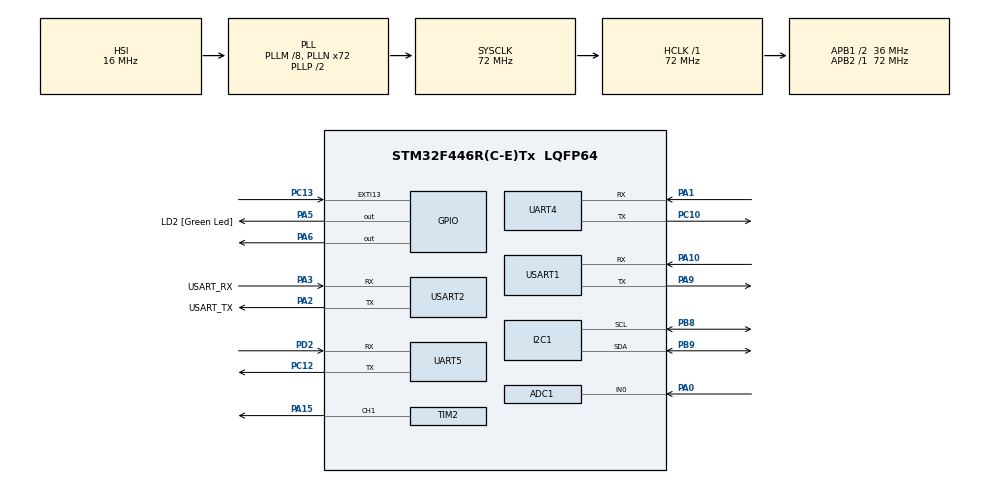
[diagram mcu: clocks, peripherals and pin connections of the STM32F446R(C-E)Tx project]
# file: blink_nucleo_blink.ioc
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ADC1.Channel-0\#ChannelRegularConversion=ADC_CHANNEL_0
ADC1.ContinuousConvMode=ENABLE
ADC1.NbrOfConversionFlag=1
ADC1.Rank-0\#ChannelRegularConversion=1
ADC1.SamplingTime-0\#ChannelRegularConversion=ADC_SAMPLETIME_3CYCLES
ADC1.master=1
Dma.Request0=USART2_RX
Dma.Request1=USART1_RX
Dma.USART1_RX.1.Direction=DMA_PERIPH_TO_MEMORY
Dma.USART1_RX.1.FIFOMode=DMA_FIFOMODE_DISABLE
Dma.USART1_RX.1.Instance=DMA2_Stream2
Dma.USART1_RX.1.MemDataAlignment=DMA_MDATAALIGN_BYTE
Dma.USART1_RX.1.MemInc=DMA_MINC_ENABLE
Dma.USART1_RX.1.Mode=DMA_CIRCULAR
Dma.USART1_RX.1.PeriphDataAlignment=DMA_PDATAALIGN_BYTE
Dma.USART1_RX.1.PeriphInc=DMA_PINC_DISABLE
Dma.USART1_RX.1.Priority=DMA_PRIORITY_LOW
Dma.USART2_RX.0.Direction=DMA_PERIPH_TO_MEMORY
Dma.USART2_RX.0.FIFOMode=DMA_FIFOMODE_DISABLE
Dma.USART2_RX.0.Instance=DMA1_Stream5
Dma.USART2_RX.0.MemDataAlignment=DMA_MDATAALIGN_BYTE
Dma.USART2_RX.0.MemInc=DMA_MINC_ENABLE
Dma.USART2_RX.0.Mode=DMA_CIRCULAR
Dma.USART2_RX.0.PeriphDataAlignment=DMA_PDATAALIGN_BYTE
Dma.USART2_RX.0.PeriphInc=DMA_PINC_DISABLE
Dma.USART2_RX.0.Priority=DMA_PRIORITY_LOW
FREERTOS.Mutexes01=myMutex01,Dynamic,NULL,Available
FREERTOS.Tasks01=defaultTask,0,128,StartDefaultTask,Default,NULL,Dynamic,NULL,NULL;SensorOkumasi,3,512,readSensor,Default,NULL,Dynamic,NULL,NULL;SeriPortYazdir,2,512,serialWrite,Default,NULL,Dynamic,NULL,NULL
I2C1.I2C_Mode=I2C_Fast
Mcu.Family=STM32F4
Mcu.Name=STM32F446R(C-E)Tx
Mcu.Package=LQFP64
NVIC.DMA1_Stream5_IRQn=true\:5\:0\:false\:false\:true\:true\:false\:true\:true
NVIC.DMA2_Stream2_IRQn=true\:5\:0\:false\:false\:true\:true\:false\:true\:true
NVIC.PriorityGroup=NVIC_PRIORITYGROUP_4
NVIC.TIM6_DAC_IRQn=true\:15\:0\:false\:false\:true\:false\:false\:true\:true
NVIC.TimeBase=TIM6_DAC_IRQn
NVIC.TimeBaseIP=TIM6
NVIC.USART2_IRQn=true\:5\:0\:false\:false\:true\:true\:true\:true\:true
PA0-WKUP.Signal=ADCx_IN0
PA1.Mode=Asynchronous
PA1.Signal=UART4_RX
PA10.Mode=Asynchronous
PA10.Signal=USART1_RX
PA13.GPIO_Label=TMS
PA13.Mode=Serial_Wire
PA13.Signal=SYS_JTMS-SWDIO
PA14.GPIO_Label=TCK
PA14.Mode=Serial_Wire
PA14.Signal=SYS_JTCK-SWCLK
PA15.Signal=S_TIM2_CH1_ETR
PA2.GPIO_Label=USART_TX
PA2.Mode=Asynchronous
PA2.Signal=USART2_TX
PA3.GPIO_Label=USART_RX
PA3.Mode=Asynchronous
PA3.Signal=USART2_RX
PA5.GPIO_Label=LD2 [Green Led]
PA5.Signal=GPIO_Output
PA6.Signal=GPIO_Output
PA9.Mode=Asynchronous
PA9.Signal=USART1_TX
PB3.GPIO_Label=SWO
PB3.Signal=SYS_JTDO-SWO
PB8.Mode=I2C
PB8.Signal=I2C1_SCL
PB9.Mode=I2C
PB9.Signal=I2C1_SDA
PC10.Mode=Asynchronous
PC10.Signal=UART4_TX
PC12.Mode=Asynchronous
PC12.Signal=UART5_TX
PC13.Signal=GPXTI13
PC14-OSC32_IN.Mode=LSE-External-Oscillator
PC14-OSC32_IN.Signal=RCC_OSC32_IN
PC15-OSC32_OUT.Mode=LSE-External-Oscillator
PC15-OSC32_OUT.Signal=RCC_OSC32_OUT
PD2.Mode=Asynchronous
PD2.Signal=UART5_RX
PH0-OSC_IN.Mode=HSE-External-Oscillator
PH0-OSC_IN.Signal=RCC_OSC_IN
PH1-OSC_OUT.Mode=HSE-External-Oscillator
PH1-OSC_OUT.Signal=RCC_OSC_OUT
ProjectManager.HeapSize=0x200
ProjectManager.StackSize=0x400
ProjectManager.TargetToolchain=STM32CubeIDE
RCC.48MHZClocksFreq_Value=84000000
RCC.AHBFreq_Value=72000000
RCC.APB1CLKDivider=RCC_HCLK_DIV2
RCC.APB1Freq_Value=36000000
RCC.APB1TimFreq_Value=72000000
RCC.APB2Freq_Value=72000000
RCC.APB2TimFreq_Value=72000000
RCC.CortexFreq_Value=72000000
RCC.FLatency-AdvancedSettings=FLASH_LATENCY_2
RCC.HCLKFreq_Value=72000000
RCC.HSE_VALUE=8000000
RCC.HSI_VALUE=16000000
RCC.PLLM=8
RCC.PLLN=72
RCC.SYSCLKFreq_VALUE=72000000
RCC.SYSCLKSource=RCC_SYSCLKSOURCE_PLLCLK
RCC.USBFreq_Value=72000000
RCC.VCOOutputFreq_Value=144000000
SH.ADCx_IN0.0=ADC1_IN0,IN0
SH.S_TIM2_CH1_ETR.0=TIM2_CH1,PWM Generation1 CH1
TIM2.Channel-PWM\ Generation1\ CH1=TIM_CHANNEL_1
UART4.VirtualMode=Asynchronous
UART5.VirtualMode=Asynchronous
USART1.VirtualMode=VM_ASYNC
USART2.VirtualMode=VM_ASYNC
VP_FREERTOS_VS_CMSIS_V1.Mode=CMSIS_V1
VP_SYS_VS_tim6.Mode=TIM6
VP_TIM2_VS_ClockSourceINT.Mode=Internal
board=NUCLEO-F446RE

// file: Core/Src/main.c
/* USER CODE BEGIN Header */
/**
  ******************************************************************************
  * @file           : main.c
  * @brief          : YRT Rocket Recovery Flight Software (Low-Pass Filter)
  ******************************************************************************
  * @attention
  *
  * Copyright (c) 2026 STMicroelectronics.
  * All rights reserved.
  *
  * This software is licensed under terms that can be found in the LICENSE file
  * in the root directory of this software component.
  * If no LICENSE file comes with this software, it is provided AS-IS.
  *
  ******************************************************************************
  */
/* USER CODE END Header */
#include "main.h"
#include "cmsis_os.h"
#include "adc.h"
#include "dma.h"
#include "i2c.h"
#include "tim.h"
#include "usart.h"
#include "gpio.h"

/* USER CODE BEGIN Includes */
#include <string.h>
#include <stdio.h>
#include <stdint.h>
#include <math.h>
#include "mpu6050.h"
/* USER CODE END Includes */

/* USER CODE BEGIN PTD */

typedef enum {

	ON_FLIGHT,
	G_REACHED,
	BURNOUT_DETECT

}FlightState;

typedef struct{
	float basinc;
	float irtifa;
	float ivmeX;
	float ivmeY;
	float ivmeZ;
	float aciX;
	float aciY;
	float aciZ;
}flightData;

typedef struct __attribute__((packed)) {
    uint8_t header;       // 0xAB olmalı
    flightData data;    // 8 tane float (32 bayt)
    uint8_t checksum;     // Toplam kontrolü
    uint8_t footer1;      // 0x0D
    uint8_t footer2;      // 0x0A
} sutData;
/* USER CODE END PTD */

/* USER CODE BEGIN PV */

MPU6050_t mpuSensor;

char serialBuffer[100];
char serialBuffer2[100];

double rollOffset = 2;

double pitchOffset = 2;

double rollFinal;
double pitchFinal;
double gForce;
double irtifa;

FlightState currentState;

extern sutData incomingData;

/* USER CODE END PV */

void SystemClock_Config(void);
void MX_FREERTOS_Init(void);

int main(void)
{

  /* USER CODE BEGIN 1 */

currentState= ON_FLIGHT;
  /* USER CODE END 1 */

  /* MCU Configuration--------------------------------------------------------*/

  /* Reset of all peripherals, Initializes the Flash interface and the Systick. */
  HAL_Init();

  /* Configure the system clock */
  SystemClock_Config();

  /* Initialize all configured peripherals */
  MX_GPIO_Init();
  MX_DMA_Init();
  MX_USART2_UART_Init();
  MX_USART1_UART_Init();
  MX_UART4_Init();
  MX_UART5_Init();
  MX_ADC1_Init();
  MX_TIM2_Init();
  MX_I2C1_Init();
  /* USER CODE BEGIN 2 */

  //while (MPU6050_Init(&hi2c1)==1) {
    //eğer sensör başlatılamazsa burada sonsuza kadar bekleyeceğiz
  //}

  HAL_UARTEx_ReceiveToIdle_DMA(&huart2, (uint8_t*)&incomingData, 64);
  /* USER CODE END 2 */

  /* Call init function for freertos objects (in cmsis_os2.c) */
  MX_FREERTOS_Init();

  /* Start scheduler */
  osKernelStart();

  /* We should never get here as control is now taken by the scheduler */

  /* Infinite loop */
	  while (1) {

  }
}

void SystemClock_Config(void)
{
  RCC_OscInitTypeDef RCC_OscInitStruct = {0};
  RCC_ClkInitTypeDef RCC_ClkInitStruct = {0};

  /** Configure the main internal regulator output voltage
  */
  __HAL_RCC_PWR_CLK_ENABLE();
  __HAL_PWR_VOLTAGESCALING_CONFIG(PWR_REGULATOR_VOLTAGE_SCALE3);

  /** Initializes the RCC Oscillators according to the specified parameters
  * in the RCC_OscInitTypeDef structure.
  */
  RCC_OscInitStruct.OscillatorType = RCC_OSCILLATORTYPE_HSI;
  RCC_OscInitStruct.HSIState = RCC_HSI_ON;
  RCC_OscInitStruct.HSICalibrationValue = RCC_HSICALIBRATION_DEFAULT;
  RCC_OscInitStruct.PLL.PLLState = RCC_PLL_ON;
  RCC_OscInitStruct.PLL.PLLSource = RCC_PLLSOURCE_HSI;
  RCC_OscInitStruct.PLL.PLLM = 8;
  RCC_OscInitStruct.PLL.PLLN = 72;
  RCC_OscInitStruct.PLL.PLLP = RCC_PLLP_DIV2;
  RCC_OscInitStruct.PLL.PLLQ = 2;
  RCC_OscInitStruct.PLL.PLLR = 2;
  if (HAL_RCC_OscConfig(&RCC_OscInitStruct) != HAL_OK)
  {
    Error_Handler();
  }

  /** Initializes the CPU, AHB and APB buses clocks
  */
  RCC_ClkInitStruct.ClockType = RCC_CLOCKTYPE_HCLK|RCC_CLOCKTYPE_SYSCLK
                              |RCC_CLOCKTYPE_PCLK1|RCC_CLOCKTYPE_PCLK2;
  RCC_ClkInitStruct.SYSCLKSource = RCC_SYSCLKSOURCE_PLLCLK;
  RCC_ClkInitStruct.AHBCLKDivider = RCC_SYSCLK_DIV1;
  RCC_ClkInitStruct.APB1CLKDivider = RCC_HCLK_DIV2;
  RCC_ClkInitStruct.APB2CLKDivider = RCC_HCLK_DIV1;

  if (HAL_RCC_ClockConfig(&RCC_ClkInitStruct, FLASH_LATENCY_2) != HAL_OK)
  {
    Error_Handler();
  }
}

void HAL_TIM_PeriodElapsedCallback(TIM_HandleTypeDef *htim)
{
  if (htim->Instance == TIM6)
  {
    HAL_IncTick();
  }
}

void Error_Handler(void)
{
  __disable_irq();
  while (1)
  {
  }
}

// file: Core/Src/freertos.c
/* USER CODE BEGIN Header */
/**
  ******************************************************************************
  * File Name          : freertos.c
  * Description        : Code for freertos applications
  ******************************************************************************
  * @attention
  *
  * Copyright (c) 2026 STMicroelectronics.
  * All rights reserved.
  *
  * This software is licensed under terms that can be found in the LICENSE file
  * in the root directory of this software component.
  * If no LICENSE file comes with this software, it is provided AS-IS.
  *
  ******************************************************************************
  */
/* USER CODE END Header */

#include "FreeRTOS.h"
#include "task.h"
#include "main.h"
#include "cmsis_os.h"
#include "dma.h"

/* USER CODE BEGIN Includes */
#include <string.h>
#include <stdio.h>
#include <stdint.h>
#include <math.h>
#include "mpu6050.h"
#include "usart.h"
#include<stdbool.h>
/* USER CODE END Includes */

/* USER CODE BEGIN PTD */

void HandleSUTCommand(uint8_t command);
void sendStatusData(void);
void checkSut_Data(uint32_t Size);

typedef enum {

	NORMAL_MODE,
	ON_FLIGHT,
	APOGEE_DETECTED,
	FALLING

}FlightState;

// incomingData'nın adresine 36 byte veri gelince haber ver ve sürekli doldur
//HAL_UART_Receive_DMA(&huart2, (uint8_t*)&incomingData, 36);

typedef struct{
	float basinc;
	float irtifa;
	float ivmeX;
	float ivmeY;
	float ivmeZ;
	float aciX;
	float aciY;
	float aciZ;
}flightData;

typedef struct __attribute__((packed)) {
    uint8_t header;       // 0xAB olmalı
    flightData data;    // 8 tane float (32 bayt)
    uint8_t checksum;     // Toplam kontrolü
    uint8_t footer1;      // 0x0D
    uint8_t footer2;      // 0x0A
} sutData;

sutData incomingData;
flightData currentData;
uint8_t calculatedSum;

void checkSut_Data(uint32_t Size){

	uint8_t *ptr = (uint8_t*)&incomingData;

	    // 1. Header ve Boyut Kontrolü
	    if (ptr[0] == 0xAA && Size == 5) {
	        // BU BİR KOMUT PAKETİDİR
	        if (ptr[3] == 0x0D && ptr[4] == 0x0A) { // Footer Kontrolü
	            uint8_t check = ptr[0] + ptr[1] + ptr[2]; // Komut Checksum
	            if (check == ptr[2]) { // Dokümana göre checksum 3. byte ise
	                HandleSUTCommand(ptr[1]); // Örn: 0x22 ise SUT başlat
	            }
	        }
	    }
/*
 * if(incomingData.header != 0XAB || incomingData.footer1 != 0x0D || incomingData.footer2 != 0x0A){
		return;

	}
 */
	    else if (ptr[0] == 0xAB && Size == 36) {
	calculatedSum = 0;
	    uint8_t *byte = (uint8_t*)&incomingData;

	    for (int i = 0; i < 33; i++) {
	        calculatedSum += byte[i]; // o 32 bytelik veri kısmımızı byte byte topluyoruz ve aşağıda kontrol edeceğiz
	    }

	    if(calculatedSum == incomingData.checksum ){

	    	currentData = incomingData.data ;
	    }
     sendStatusData();
	    }

}

/* USER CODE END PTD */

/* USER CODE BEGIN PD */

extern char serialBuffer[];
extern char serialBuffer2[];

extern double rollOffset;

extern double pitchOffset;

extern MPU6050_t mpuSensor;

extern double rollFinal;
extern double pitchFinal;
extern double gForce;
extern double irtifa;
extern FlightState currentState;

double maxIrtifa=0.00;
double maxgForce=0.00;

float sonIrtifa = 0.0f;
uint32_t sonZaman=0;
float dikeyHiz = 0.0f;

volatile bool sutKomutuGeldi = false;
volatile bool sutAktif = false;
uint32_t sutBaslangicZamani = 0;

/* USER CODE END PD */

/* USER CODE BEGIN PM */
#define YER_CEKIMI_IVMESI 9.81
/* USER CODE END PM */

osThreadId defaultTaskHandle;
osThreadId SensorOkumasiHandle;
osThreadId SeriPortYazdirHandle;
osMutexId myMutex01Handle;

void StartDefaultTask(void const * argument);
void readSensor(void const * argument);
void serialWrite(void const * argument);

void MX_FREERTOS_Init(void); /* (MISRA C 2004 rule 8.1) */

/* GetIdleTaskMemory prototype (linked to static allocation support) */
void vApplicationGetIdleTaskMemory( StaticTask_t **ppxIdleTaskTCBBuffer, StackType_t **ppxIdleTaskStackBuffer, uint32_t *pulIdleTaskStackSize );

/* USER CODE BEGIN GET_IDLE_TASK_MEMORY */
static StaticTask_t xIdleTaskTCBBuffer;
static StackType_t xIdleStack[configMINIMAL_STACK_SIZE];

void vApplicationGetIdleTaskMemory( StaticTask_t **ppxIdleTaskTCBBuffer, StackType_t **ppxIdleTaskStackBuffer, uint32_t *pulIdleTaskStackSize )
{
  *ppxIdleTaskTCBBuffer = &xIdleTaskTCBBuffer;
  *ppxIdleTaskStackBuffer = &xIdleStack[0];
  *pulIdleTaskStackSize = configMINIMAL_STACK_SIZE;
  /* place for user code */
}
/* USER CODE END GET_IDLE_TASK_MEMORY */

void MX_FREERTOS_Init(void) {
  /* Create the mutex(es) */
  /* definition and creation of myMutex01 */
  osMutexDef(myMutex01);
  myMutex01Handle = osMutexCreate(osMutex(myMutex01));

  /* Create the thread(s) */
  /* definition and creation of defaultTask */
  osThreadDef(defaultTask, StartDefaultTask, osPriorityNormal, 0, 128);
  defaultTaskHandle = osThreadCreate(osThread(defaultTask), NULL);

  /* definition and creation of SensorOkumasi */
  osThreadDef(SensorOkumasi, readSensor, osPriorityRealtime, 0, 512);
  SensorOkumasiHandle = osThreadCreate(osThread(SensorOkumasi), NULL);

  /* definition and creation of SeriPortYazdir */
  osThreadDef(SeriPortYazdir, serialWrite, osPriorityHigh, 0, 512);
  SeriPortYazdirHandle = osThreadCreate(osThread(SeriPortYazdir), NULL);

}

void StartDefaultTask(void const * argument)
{
  for(;;)
  {
    osDelay(1);
  }
}

void readSensor(void const * argument)
{
  /* USER CODE BEGIN readSensor */
  /* Infinite loop */
  for(;;)
  {
      // 1. SUT Komut ve Bekleme Kontrolü
      if (sutKomutuGeldi && !sutAktif) {
          if (HAL_GetTick() - sutBaslangicZamani >= 1000) {
              sutAktif = true;
          }
      }

      // 2. TEK BİR MUTEX BAŞLANGICI
      if (osMutexWait(myMutex01Handle, osWaitForever) == osOK) {

          // 3. KAYNAK SEÇİMİ
          if (sutAktif) {
              // SUT AKTİF: currentData üzerinden uçuş algoritması işle
              gForce = currentData.ivmeZ / 9.81f;
              irtifa = currentData.irtifa;
              rollFinal = currentData.aciX; // Örnek olarak
              pitchFinal = currentData.aciY;
          } else {
              // NORMAL MOD: Gerçek sensörü oku
              MPU6050_Read_All(&hi2c1, &mpuSensor);
              gForce = mpuSensor.Az;
              rollFinal = mpuSensor.KalmanAngleX + rollOffset;
              pitchFinal = mpuSensor.KalmanAngleY + pitchOffset;
              // irtifa = Gercek_Barometre_Oku(); // MPU6050 irtifa veremez!
          }

          // 4. ORTAK HESAPLAMALAR (SUT veya Gerçek fark etmez)
          if(irtifa > maxIrtifa){
              maxIrtifa = irtifa;
          }
          if(gForce > maxgForce){
              maxgForce = gForce;
          }

          // Dikey hız
          uint32_t simdikiZaman = HAL_GetTick();
          float deltaT = (simdikiZaman - sonZaman) / 1000.0f;
          if(deltaT > 0.001f){ // Sıfıra bölmeyi engelle
              dikeyHiz = (irtifa - sonIrtifa) / deltaT;
              sonIrtifa = irtifa;
              sonZaman = simdikiZaman;
          }

          // 5. DURUM MAKİNESİ
          switch(currentState){
              case NORMAL_MODE:
                  if(irtifa > 15.00){
                      char *msg = "KALKIS ALGILANDI\r\n";
                      HAL_UART_Transmit(&huart2, (uint8_t*)msg, strlen(msg), 50);
                      currentState = ON_FLIGHT;
                  }
                  break;

              case ON_FLIGHT:
                  if (maxgForce > (gForce + 2.0f)){
                      char *msg = "BURNOUT DETECTED\r\n";
                      HAL_UART_Transmit(&huart2, (uint8_t*)msg, strlen(msg), 50);
                  }
                  if(maxIrtifa > (irtifa + 2.0f) && irtifa > 20.0f && dikeyHiz < 0 ){
                      char *msg = "APOGEE DETECTED\r\n";
                      HAL_UART_Transmit(&huart2, (uint8_t*)msg, strlen(msg), 50);
                      currentState = APOGEE_DETECTED;
                  }
                  break;

              case APOGEE_DETECTED:
                  HAL_GPIO_WritePin(GPIOA, GPIO_PIN_5, GPIO_PIN_SET); // sürüklenme
                  currentState = FALLING;
                  break;

              case FALLING:
                  if(irtifa < 500){
                      HAL_GPIO_WritePin(GPIOA, GPIO_PIN_5, GPIO_PIN_SET); // ana (pini düzelt)
                  }
                  break;
          }

          // 6. TEK BİR MUTEX ÇIKIŞI
          osMutexRelease(myMutex01Handle);
      }

      // 7. DÖNGÜ SONU BEKLEMESİ
      osDelay(50);
  }
  /* USER CODE END readSensor */
}

void serialWrite(void const * argument)
{
  /* USER CODE BEGIN serialWrite */
  /* Infinite loop */
  for(;;)
  {
	  FlightState temporaryState;

	  if (osMutexWait(myMutex01Handle, osWaitForever) == osOK) {
	  sprintf( serialBuffer, "Pitch: %.2f | Roll: %.2f | Acc(G): X:%.2f Y:%.2f Z:%.2f | Gyro: X:%.2f Y:%.2f Z:%.2f\r\n",
	  pitchFinal,
	  rollFinal,
	  mpuSensor.Ax,
	  mpuSensor.Ay,
	  mpuSensor.Az,
	  mpuSensor.Gx,
	  mpuSensor.Gy,
	  mpuSensor.Gz
	  );

	  temporaryState= currentState;

    osMutexRelease(myMutex01Handle);
  }

	  HAL_UART_Transmit(&huart2, (uint8_t*)serialBuffer, strlen(serialBuffer),2000);
	  osDelay(100);
//

	  /*
	  switch (temporaryState){

	  case IS_G_REACHED:
		  sprintf(serialBuffer2, "KALKIS ALGILANDI \r\n");
		  	  HAL_UART_Transmit(&huart2, (uint8_t*)serialBuffer2, strlen(serialBuffer2),2000);
		  	 osDelay(100);
		  break;
	  case BURNOUT_DETECT:
	 		  sprintf(serialBuffer2, "BURNOUT ALGILANDI \r\n");
	 		  	  HAL_UART_Transmit(&huart2, (uint8_t*)serialBuffer2, strlen(serialBuffer2),2000);
	 		  	 osDelay(100);
	 		  break;

	  }
	 */

	  /*
	 if(temporaryState==APOGEE_REACHED){
	  sprintf(serialBuffer2, "APOGEE ULASILDI \r\n");
	  HAL_UART_Transmit(&huart2, (uint8_t*)serialBuffer2, strlen(serialBuffer2),2000);

	  }
	   */

	  }
  /* USER CODE END serialWrite */
}

/* USER CODE BEGIN Application */

void HandleSUTCommand(uint8_t command) {
    if (command == 0x22) { // SUT BAŞLAT 0x22
        sutKomutuGeldi = true;
        sutBaslangicZamani = HAL_GetTick();
    }
    else if (command == 0x24) { // DURDUR için 0x24
        sutKomutuGeldi = false;
        sutAktif = false;
        currentState = NORMAL_MODE;
    }
}

void HAL_UARTEx_RxEventCallback(UART_HandleTypeDef *huart, uint16_t Size)
{
    if (huart->Instance == USART2)
    {
        // DMA bir paket yakaladı, şimdi analiz etmesi için senin fonksiyonuna yolluyoruz
        checkSut_Data(Size);

        // Bir sonraki paket için DMA'yı tekrar aktif et
        HAL_UARTEx_ReceiveToIdle_DMA(&huart2, (uint8_t*)&incomingData, 64);
    }
}

void sendStatusData(void) {
    uint8_t statusBuf[6];
    uint16_t bits = 0;

    if (currentState != NORMAL_MODE) bits |= (1 << 0); // Bit 0: Kalkış

    if (currentState == FALLING || currentState == APOGEE_DETECTED) {
        bits |= (1 << 4); // Bit 4: Alçalmaya başladı
        bits |= (1 << 5); // Bit 5: Sürüklenme paraşütü emri
    }

    if (irtifa < 500.0f && currentState == FALLING) {
        bits |= (1 << 6); // Bit 6: Belirlenen irtifanın altına indi (500m)
        bits |= (1 << 7); // Bit 7: Ana paraşüt emri
    }

    statusBuf[0] = 0xAA;
    statusBuf[1] = bits & 0xFF;
    statusBuf[2] = (bits >> 8) & 0xFF;
    statusBuf[3] = statusBuf[0] + statusBuf[1] + statusBuf[2];
    statusBuf[4] = 0x0D;
    statusBuf[5] = 0x0A;

    HAL_UART_Transmit(&huart2, statusBuf, 6, 10);
}
/* USER CODE END Application */
